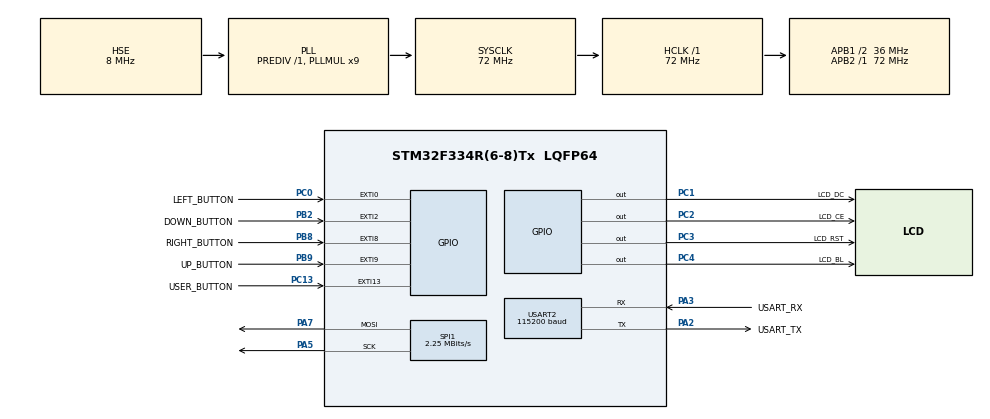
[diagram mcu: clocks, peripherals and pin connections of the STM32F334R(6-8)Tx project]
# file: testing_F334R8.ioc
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Mcu.Family=STM32F3
Mcu.Name=STM32F334R(6-8)Tx
Mcu.Package=LQFP64
NVIC.EXTI0_IRQn=true\:0\:0\:false\:false\:true\:true\:true\:true
NVIC.EXTI15_10_IRQn=true\:0\:0\:false\:false\:true\:true\:true\:true
NVIC.EXTI2_TSC_IRQn=true\:0\:0\:false\:false\:true\:true\:true\:true
NVIC.EXTI9_5_IRQn=true\:0\:0\:false\:false\:true\:true\:true\:true
NVIC.PriorityGroup=NVIC_PRIORITYGROUP_0
PA13.GPIO_Label=TMS
PA13.Mode=Serial_Wire
PA13.Signal=SYS_JTMS-SWDIO
PA14.GPIO_Label=TCK
PA14.Mode=Serial_Wire
PA14.Signal=SYS_JTCK-SWCLK
PA2.GPIO_Label=USART_TX
PA2.Mode=Asynchronous
PA2.Signal=USART2_TX
PA3.GPIO_Label=USART_RX
PA3.Mode=Asynchronous
PA3.Signal=USART2_RX
PA5.Mode=TX_Only_Simplex_Unidirect_Master
PA5.Signal=SPI1_SCK
PA7.Mode=TX_Only_Simplex_Unidirect_Master
PA7.Signal=SPI1_MOSI
PB2.GPIO_Label=DOWN_BUTTON
PB2.GPIO_ModeDefaultEXTI=GPIO_MODE_IT_FALLING
PB2.Signal=GPXTI2
PB3.GPIO_Label=SWO
PB3.Signal=SYS_JTDO-TRACESWO
PB8.GPIO_Label=RIGHT_BUTTON
PB8.GPIO_ModeDefaultEXTI=GPIO_MODE_IT_FALLING
PB8.Signal=GPXTI8
PB9.GPIO_Label=UP_BUTTON
PB9.GPIO_ModeDefaultEXTI=GPIO_MODE_IT_FALLING
PB9.Signal=GPXTI9
PC0.GPIO_Label=LEFT_BUTTON
PC0.GPIO_ModeDefaultEXTI=GPIO_MODE_IT_FALLING
PC0.GPIO_PuPd=GPIO_NOPULL
PC0.Signal=GPXTI0
PC1.GPIO_Label=LCD_DC
PC1.Signal=GPIO_Output
PC13.GPIO_Label=USER_BUTTON
PC13.GPIO_ModeDefaultEXTI=GPIO_MODE_IT_FALLING
PC13.Signal=GPXTI13
PC14\ /\ OSC32_IN.Signal=RCC_OSC32_IN
PC15\ /\ OSC32_OUT.GPIO_Label=RCC_OSC32_OUT
PC15\ /\ OSC32_OUT.Signal=RCC_OSC32_OUT
PC2.GPIO_Label=LCD_CE
PC2.PinState=GPIO_PIN_SET
PC2.Signal=GPIO_Output
PC3.GPIO_Label=LCD_RST
PC3.PinState=GPIO_PIN_SET
PC3.Signal=GPIO_Output
PC4.GPIO_Label=LCD_BL
PC4.Signal=GPIO_Output
PF0\ /\ OSC_IN.Mode=HSE-External-Oscillator
PF0\ /\ OSC_IN.Signal=RCC_OSC_IN
PF1\ /\ OSC_OUT.Mode=HSE-External-Oscillator
PF1\ /\ OSC_OUT.Signal=RCC_OSC_OUT
ProjectManager.HeapSize=0x200
ProjectManager.StackSize=0x400
ProjectManager.TargetToolchain=STM32CubeIDE
RCC.AHBFreq_Value=72000000
RCC.APB1CLKDivider=RCC_HCLK_DIV2
RCC.APB1Freq_Value=36000000
RCC.APB1TimFreq_Value=72000000
RCC.APB2Freq_Value=72000000
RCC.APB2TimFreq_Value=72000000
RCC.CortexFreq_Value=72000000
RCC.FLatency-AdvancedSettings=FLASH_LATENCY_2
RCC.HCLKFreq_Value=72000000
RCC.HSE_VALUE=8000000
RCC.HSI_VALUE=8000000
RCC.LSE_VALUE=32768
RCC.PLLMUL=RCC_PLL_MUL9
RCC.PLLSourceVirtual=RCC_PLLSOURCE_HSE
RCC.SYSCLKFreq_VALUE=72000000
RCC.SYSCLKSourceVirtual=RCC_SYSCLKSOURCE_PLLCLK
SPI1.BaudRatePrescaler=SPI_BAUDRATEPRESCALER_32
SPI1.CLKPhase=SPI_PHASE_1EDGE
SPI1.CLKPolarity=SPI_POLARITY_LOW
SPI1.CalculateBaudRate=2.25 MBits/s
SPI1.DataSize=SPI_DATASIZE_8BIT
SPI1.Direction=SPI_DIRECTION_2LINES
SPI1.Mode=SPI_MODE_MASTER
SPI1.VirtualType=VM_MASTER
USART2.BaudRate=115200
USART2.VirtualMode-Asynchronous=VM_ASYNC
VP_RTC_VS_RTC_Activate.Mode=RTC_Enabled
board=NUCLEO-F334R8

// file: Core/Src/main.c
/* USER CODE BEGIN Header */
/**
  ******************************************************************************
  * @file           : main.c
  * @brief          : Main program body
  ******************************************************************************
  * @attention
  *
  * <h2><center>&copy; Copyright (c) 2022 STMicroelectronics.
  * All rights reserved.</center></h2>
  *
  * This software component is licensed by ST under BSD 3-Clause license,
  * the "License"; You may not use this file except in compliance with the
  * License. You may obtain a copy of the License at:
  *                        opensource.org/licenses/BSD-3-Clause
  *
  ******************************************************************************
  */
/* USER CODE END Header */
#include "main.h"
#include "rtc.h"
#include "spi.h"
#include "usart.h"
#include "gpio.h"

/* USER CODE BEGIN Includes */
#include <string.h>
#include "generate_number.h"
#include "lcd.h"
#include "memory_allocation.h"
#include "manipulation.h"
/* USER CODE END Includes */

/* USER CODE BEGIN PV */
uint8_t** board_data = NULL;
uint8_t x = 0;
uint8_t y = 0;
/* USER CODE END PV */

void SystemClock_Config(void);

int main(void)
{

  /* MCU Configuration--------------------------------------------------------*/

  /* Reset of all peripherals, Initializes the Flash interface and the Systick. */
  HAL_Init();

  /* Configure the system clock */
  SystemClock_Config();

  /* Initialize all configured peripherals */
  MX_GPIO_Init();
  MX_USART2_UART_Init();
  MX_SPI1_Init();
  MX_RTC_Init();
  /* USER CODE BEGIN 2 */
  lcd_init();
  const char init_message[] = "Starting program...";
  HAL_UART_Transmit(&huart2, (uint8_t*)init_message, strlen(init_message), HAL_MAX_DELAY);
  allocate_memory(&board_data, LCD_ROWS, LCD_COLUMNS);
  set_point(board_data, &x, &y);
  load_board_data((const uint8_t**)board_data, LCD_ROWS, LCD_COLUMNS);
  /* USER CODE END 2 */

  /* Infinite loop */
  while (1)
  {

  }
}

void SystemClock_Config(void)
{
  RCC_OscInitTypeDef RCC_OscInitStruct = {0};
  RCC_ClkInitTypeDef RCC_ClkInitStruct = {0};
  RCC_PeriphCLKInitTypeDef PeriphClkInit = {0};

  /** Initializes the RCC Oscillators according to the specified parameters
  * in the RCC_OscInitTypeDef structure.
  */
  RCC_OscInitStruct.OscillatorType = RCC_OSCILLATORTYPE_LSI|RCC_OSCILLATORTYPE_HSE;
  RCC_OscInitStruct.HSEState = RCC_HSE_ON;
  RCC_OscInitStruct.HSEPredivValue = RCC_HSE_PREDIV_DIV1;
  RCC_OscInitStruct.HSIState = RCC_HSI_ON;
  RCC_OscInitStruct.LSIState = RCC_LSI_ON;
  RCC_OscInitStruct.PLL.PLLState = RCC_PLL_ON;
  RCC_OscInitStruct.PLL.PLLSource = RCC_PLLSOURCE_HSE;
  RCC_OscInitStruct.PLL.PLLMUL = RCC_PLL_MUL9;
  if (HAL_RCC_OscConfig(&RCC_OscInitStruct) != HAL_OK)
  {
    Error_Handler();
  }

  /** Initializes the CPU, AHB and APB buses clocks
  */
  RCC_ClkInitStruct.ClockType = RCC_CLOCKTYPE_HCLK|RCC_CLOCKTYPE_SYSCLK
                              |RCC_CLOCKTYPE_PCLK1|RCC_CLOCKTYPE_PCLK2;
  RCC_ClkInitStruct.SYSCLKSource = RCC_SYSCLKSOURCE_PLLCLK;
  RCC_ClkInitStruct.AHBCLKDivider = RCC_SYSCLK_DIV1;
  RCC_ClkInitStruct.APB1CLKDivider = RCC_HCLK_DIV2;
  RCC_ClkInitStruct.APB2CLKDivider = RCC_HCLK_DIV1;

  if (HAL_RCC_ClockConfig(&RCC_ClkInitStruct, FLASH_LATENCY_2) != HAL_OK)
  {
    Error_Handler();
  }
  PeriphClkInit.PeriphClockSelection = RCC_PERIPHCLK_RTC;
  PeriphClkInit.RTCClockSelection = RCC_RTCCLKSOURCE_LSI;
  if (HAL_RCCEx_PeriphCLKConfig(&PeriphClkInit) != HAL_OK)
  {
    Error_Handler();
  }
}

/* USER CODE BEGIN 4 */
void HAL_GPIO_EXTI_Callback(uint16_t GPIO_Pin)
{
	if(GPIO_Pin == LEFT_BUTTON_Pin)
	{
		move(board_data, &x, &y, LEFT);
	}
	else if(GPIO_Pin == RIGHT_BUTTON_Pin)
	{
		move(board_data, &x, &y, RIGHT);
	}
	else if(GPIO_Pin == UP_BUTTON_Pin)
	{
		move(board_data, &x, &y, UP);
	}
	else if(GPIO_Pin == DOWN_BUTTON_Pin)
	{
			move(board_data, &x, &y, DOWN);
	}
	set_position(0, 0);
	load_board_data((const uint8_t**)board_data, LCD_ROWS, LCD_COLUMNS);
}
/* USER CODE END 4 */

void Error_Handler(void)
{
  __disable_irq();
  while (1)
  {
  }
}
